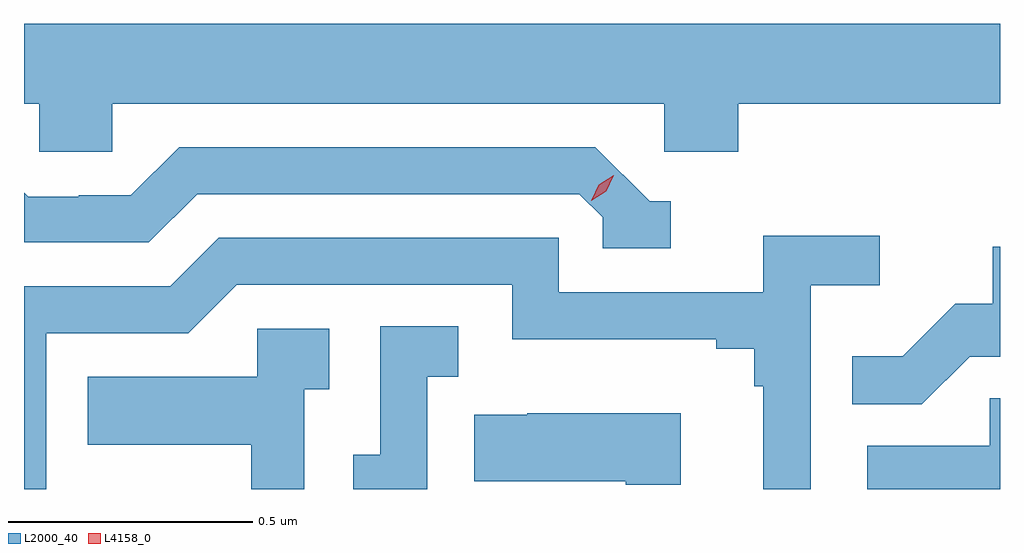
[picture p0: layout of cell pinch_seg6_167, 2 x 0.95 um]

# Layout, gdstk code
import gdstk
lib = gdstk.Library(unit=1e-6, precision=1e-09)
def P(c, l, *ps):  # polygons
    for p in ps: c.add(gdstk.Polygon(p, *l))
L2000_40 = (2000, 40)
L4158_0 = (4158, 0)

pinch_seg6_167 = lib.new_cell('pinch_seg6_167')
P(pinch_seg6_167, L2000_40, [(1044.045,938.012),(1045.176,938.012),(1045.176,937.914),(1045.328,937.914),(1045.328,938.012),(1045.864,938.012),(1045.864,938.176),(1043.864,938.176),(1043.864,938.012),(1043.895,938.012),(1043.895,937.914),(1044.045,937.914)],
  [(1045.189,937.812),(1045.146,937.812),(1045.035,937.923),(1044.182,937.923),(1044.083,937.824),(1043.976,937.824),(1043.976,937.821),(1043.873,937.821),(1043.864,937.83),(1043.864,937.728),(1044.12,937.728),(1044.219,937.827),(1045.002,937.827),(1045.05,937.779),(1045.05,937.716),(1045.189,937.716)],
  [(1043.91,937.542),(1044.201,937.542),(1044.3,937.641),(1044.864,937.641),(1044.864,937.529),(1045.283,937.529),(1045.283,937.51),(1045.36,937.51),(1045.36,937.433),(1045.379,937.433),(1045.379,937.222),(1045.476,937.222),(1045.476,937.64),(1045.618,937.64),(1045.618,937.742),(1045.379,937.742),(1045.379,937.626),(1044.96,937.626),(1044.96,937.737),(1044.263,937.737),(1044.164,937.638),(1043.864,937.638),(1043.864,937.222),(1043.91,937.222)],
  [(1045.802,937.494),(1045.864,937.494),(1045.864,937.719),(1045.849,937.719),(1045.849,937.602),(1045.772,937.602),(1045.665,937.495),(1045.561,937.495),(1045.561,937.396),(1045.704,937.396)],
  [(1044.69,937.453),(1044.754,937.453),(1044.754,937.556),(1044.594,937.556),(1044.594,937.293),(1044.539,937.293),(1044.539,937.222),(1044.69,937.222)],
  [(1044.438,937.427),(1044.49,937.427),(1044.49,937.551),(1044.342,937.551),(1044.342,937.453),(1043.995,937.453),(1043.995,937.313),(1044.33,937.313),(1044.33,937.222),(1044.438,937.222)],
  [(1045.864,937.409),(1045.843,937.409),(1045.843,937.311),(1045.592,937.311),(1045.592,937.222),(1045.864,937.222)],
  [(1045.21,937.378),(1044.895,937.378),(1044.895,937.375),(1044.787,937.375),(1044.787,937.238),(1045.097,937.238),(1045.097,937.231),(1045.21,937.231)])
P(pinch_seg6_167, L4158_0, [(1045.026,937.813),(1045.026,937.813),(1045.042,937.846),(1045.073,937.866),(1045.073,937.866),(1045.073,937.865),(1045.057,937.833),(1045.026,937.813)])

lib.write_gds('pinch_seg6_167.gds')
